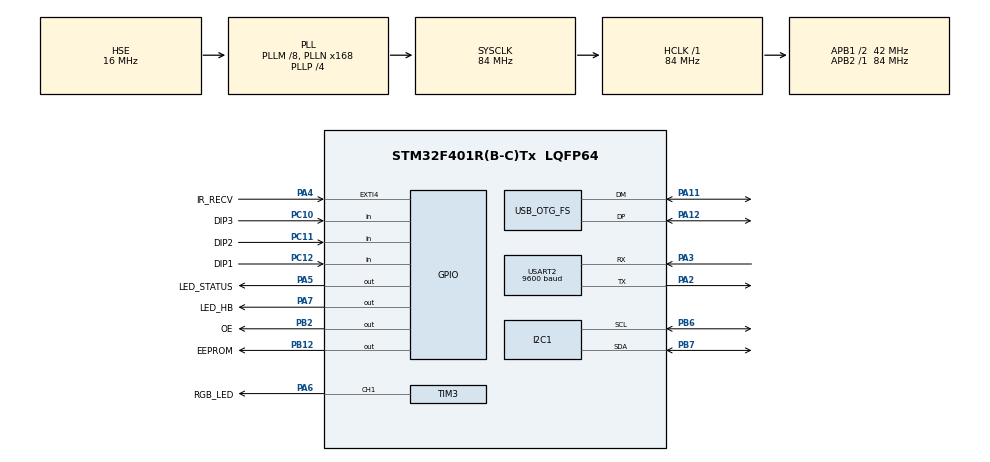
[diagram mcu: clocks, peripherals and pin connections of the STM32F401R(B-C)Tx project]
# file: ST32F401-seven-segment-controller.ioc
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Dma.Request0=TIM3_CH1/TRIG
Dma.TIM3_CH1/TRIG.0.Direction=DMA_MEMORY_TO_PERIPH
Dma.TIM3_CH1/TRIG.0.FIFOMode=DMA_FIFOMODE_DISABLE
Dma.TIM3_CH1/TRIG.0.Instance=DMA1_Stream4
Dma.TIM3_CH1/TRIG.0.MemDataAlignment=DMA_MDATAALIGN_HALFWORD
Dma.TIM3_CH1/TRIG.0.MemInc=DMA_MINC_ENABLE
Dma.TIM3_CH1/TRIG.0.Mode=DMA_NORMAL
Dma.TIM3_CH1/TRIG.0.PeriphDataAlignment=DMA_PDATAALIGN_HALFWORD
Dma.TIM3_CH1/TRIG.0.PeriphInc=DMA_PINC_DISABLE
Dma.TIM3_CH1/TRIG.0.Priority=DMA_PRIORITY_HIGH
FREERTOS.Tasks01=defaultTask,24,384,StartDefaultTask,Default,NULL,Dynamic,NULL,NULL;heartbeatTask,8,128,StartHeartbeatTask,Default,NULL,Dynamic,NULL,NULL
FREERTOS.configUSE_NEWLIB_REENTRANT=1
Mcu.Family=STM32F4
Mcu.Name=STM32F401R(B-C)Tx
Mcu.Package=LQFP64
NVIC.DMA1_Stream4_IRQn=true\:5\:0\:false\:false\:true\:true\:false\:true\:true
NVIC.EXTI4_IRQn=true\:5\:0\:false\:false\:true\:true\:true\:true\:true
NVIC.OTG_FS_IRQn=true\:5\:0\:false\:false\:true\:true\:false\:true\:true
NVIC.PriorityGroup=NVIC_PRIORITYGROUP_4
NVIC.TIM4_IRQn=true\:15\:0\:false\:false\:true\:false\:false\:true\:true
NVIC.TimeBase=TIM4_IRQn
NVIC.TimeBaseIP=TIM4
NVIC.USART2_IRQn=true\:5\:0\:false\:false\:true\:true\:true\:true\:true
PA11.Mode=Device_Only
PA11.Signal=USB_OTG_FS_DM
PA12.Mode=Device_Only
PA12.Signal=USB_OTG_FS_DP
PA13.Mode=Trace_Asynchronous_SW
PA13.Signal=SYS_JTMS-SWDIO
PA14.Mode=Trace_Asynchronous_SW
PA14.Signal=SYS_JTCK-SWCLK
PA2.Mode=Asynchronous
PA2.Signal=USART2_TX
PA3.Mode=Asynchronous
PA3.Signal=USART2_RX
PA4.GPIO_Label=IR_RECV
PA4.GPIO_ModeDefaultEXTI=GPIO_MODE_IT_FALLING
PA4.Signal=GPXTI4
PA5.GPIO_Label=LED_STATUS
PA5.Signal=GPIO_Output
PA6.GPIO_Label=RGB_LED
PA6.Signal=S_TIM3_CH1
PA7.GPIO_Label=LED_HB
PA7.Signal=GPIO_Output
PB12.GPIO_Label=EEPROM
PB12.Signal=GPIO_Output
PB2.GPIO_Label=OE
PB2.Signal=GPIO_Output
PB3.Mode=Trace_Asynchronous_SW
PB3.Signal=SYS_JTDO-SWO
PB6.Mode=I2C
PB6.Signal=I2C1_SCL
PB7.Mode=I2C
PB7.Signal=I2C1_SDA
PC10.GPIO_Label=DIP3
PC10.Signal=GPIO_Input
PC11.GPIO_Label=DIP2
PC11.Signal=GPIO_Input
PC12.GPIO_Label=DIP1
PC12.Signal=GPIO_Input
PC14-OSC32_IN.Mode=LSE-External-Oscillator
PC14-OSC32_IN.Signal=RCC_OSC32_IN
PC15-OSC32_OUT.Mode=LSE-External-Oscillator
PC15-OSC32_OUT.Signal=RCC_OSC32_OUT
PH0\ -\ OSC_IN.Mode=HSE-External-Oscillator
PH0\ -\ OSC_IN.Signal=RCC_OSC_IN
PH1\ -\ OSC_OUT.Mode=HSE-External-Oscillator
PH1\ -\ OSC_OUT.Signal=RCC_OSC_OUT
ProjectManager.HeapSize=0x200
ProjectManager.StackSize=0x400
ProjectManager.TargetToolchain=STM32CubeIDE
RCC.48MHZClocksFreq_Value=48000000
RCC.AHBFreq_Value=84000000
RCC.APB1CLKDivider=RCC_HCLK_DIV2
RCC.APB1Freq_Value=42000000
RCC.APB1TimFreq_Value=84000000
RCC.APB2Freq_Value=84000000
RCC.APB2TimFreq_Value=84000000
RCC.CortexFreq_Value=84000000
RCC.HCLKFreq_Value=84000000
RCC.HSE_VALUE=16000000
RCC.HSI_VALUE=16000000
RCC.PLLM=8
RCC.PLLN=168
RCC.PLLP=RCC_PLLP_DIV4
RCC.PLLQ=7
RCC.RCC_RTC_Clock_SourceVirtual=RCC_RTCCLKSOURCE_LSE
RCC.SYSCLKFreq_VALUE=84000000
RCC.SYSCLKSource=RCC_SYSCLKSOURCE_PLLCLK
RCC.VCOOutputFreq_Value=336000000
SH.S_TIM3_CH1.0=TIM3_CH1,PWM Generation1 CH1
TIM1.Prescaler=84-1
TIM2.Prescaler=84-1
TIM3.Channel-PWM\ Generation1\ CH1=TIM_CHANNEL_1
TIM3.Period=105-1
TIM5.Prescaler=8400-1
USART2.BaudRate=9600
USART2.Mode=MODE_RX
USART2.VirtualMode=VM_ASYNC
USB_DEVICE.CLASS_NAME_FS=CDC
USB_DEVICE.VirtualMode=Cdc
USB_DEVICE.VirtualModeFS=Cdc_FS
USB_OTG_FS.VirtualMode=Device_Only
VP_FREERTOS_VS_CMSIS_V2.Mode=CMSIS_V2
VP_RTC_VS_RTC_Activate.Mode=RTC_Enabled
VP_SYS_VS_tim4.Mode=TIM4
VP_TIM1_VS_ClockSourceINT.Mode=Internal
VP_TIM2_VS_ClockSourceINT.Mode=Internal
VP_TIM3_VS_ClockSourceINT.Mode=Internal
VP_TIM5_VS_ClockSourceINT.Mode=Internal
VP_USB_DEVICE_VS_USB_DEVICE_CDC_FS.Mode=CDC_FS
board=custom

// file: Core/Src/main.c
/* USER CODE BEGIN Header */
/**
 ******************************************************************************
 * @file           : main.c
 * @brief          : Main program body
 ******************************************************************************
 * @attention
 *
 * Copyright (c) 2023 STMicroelectronics.
 * All rights reserved.
 *
 * This software is licensed under terms that can be found in the LICENSE file
 * in the root directory of this software component.
 * If no LICENSE file comes with this software, it is provided AS-IS.
 *
 ******************************************************************************
 */
/* USER CODE END Header */
#include "main.h"
#include "cmsis_os.h"
#include "usb_device.h"

/* USER CODE BEGIN Includes */
#include <math.h>
#include <stdio.h>
#include <string.h>
#include <time.h>
#include "ssd1306.h"
#include "rtc_sync.h"
#include "ring_buffer.h"
#include "i2c_wrapper.h"
#include "pcf8563.h"
#include "seven_segment.h"
#include "eeprom.h"
#include "bcd_util.h"
#include "nmea.h"
#include "sync_gps_rtc.h"
#include "adj_date.h"
#include "splash.h"
/* USER CODE END Includes */

/* USER CODE BEGIN PD */
/* USER CODE BEGIN PD */
#define NUM_DIGITS 3
#define NUM_LED_DIGIT 29
#define USE_BRIGHTNESS 1
#define NUM_SACRIFICIAL_LED 1
#define PI 3.14159265358979323846
#define CODE_BUFFER_SIZE 8
#define UART_RX_BUFFER_SIZE 512
#define IR_REMOTE_BUFFER_SIZE 16

// Date Format
#define DATE_FORMAT "%04d-%02d-%02d"
#define TIME_FORMAT "%02d:%02d:%02d"

// EEPROM Defines
#define EEPROM_DATE_PAGE 0
#define EEPROM_DATE_OFFSET 0

/* USER CODE END PD */

I2C_HandleTypeDef hi2c1;

RTC_HandleTypeDef hrtc;

TIM_HandleTypeDef htim1;
TIM_HandleTypeDef htim2;
TIM_HandleTypeDef htim3;
TIM_HandleTypeDef htim5;
DMA_HandleTypeDef hdma_tim3_ch1_trig;

UART_HandleTypeDef huart2;

/* Definitions for defaultTask */
osThreadId_t defaultTaskHandle;
const osThreadAttr_t defaultTask_attributes = {
        .name = "defaultTask",
        .stack_size = 384 * 4,
        .priority = (osPriority_t) osPriorityNormal,
};
/* Definitions for heartbeatTask */
osThreadId_t heartbeatTaskHandle;
const osThreadAttr_t heartbeatTask_attributes = {
        .name = "heartbeatTask",
        .stack_size = 128 * 4,
        .priority = (osPriority_t) osPriorityLow,
};
/* USER CODE BEGIN PV */

// Data Buffer Variables
char lcd_buffer[64];

// LED Strip Variables
seven_segment_t led;
// uint8_t LED_Data[(NUM_LED_DIGIT + NUM_SACRIFICIAL_LED) * NUM_DIGITS][4];
// uint8_t LED_Mod[(NUM_LED_DIGIT + NUM_SACRIFICIAL_LED) * NUM_DIGITS][4];
// uint16_t pwmData[(24 * (NUM_LED_DIGIT + NUM_SACRIFICIAL_LED) * NUM_DIGITS)+50];

// IR Remote Variables

uint32_t tempCode;
uint8_t bitIndex;
uint8_t cmd;
uint8_t cmdli;
uint32_t code;
uint32_t prevCode;
uint8_t codeReady;
uint32_t codeCmd;
uint8_t startIR;
uint8_t repeatCode;
uint8_t potentialRepeatCode;
uint8_t repeatCodeCount;
RingBuffer codeBuffer;

// UART Variables
RingBuffer uartRxBuffer;
uint8_t uartRxData[2] = {0};

// Misc Variables
uint8_t use_external_rtc = 0;
uint8_t has_external_rtc = 0;
uint8_t mute_status_led = 0;

/* USER CODE END PV */

void SystemClock_Config(void);
static void MX_GPIO_Init(void);
static void MX_DMA_Init(void);
static void MX_RTC_Init(void);
static void MX_TIM2_Init(void);
static void MX_TIM3_Init(void);
static void MX_USART2_UART_Init(void);
static void MX_I2C1_Init(void);
static void MX_TIM1_Init(void);
static void MX_TIM5_Init(void);
void StartDefaultTask(void *argument);
void StartHeartbeatTask(void *argument);

/* USER CODE BEGIN 0 */

uint16_t pwmData[29];

void send(int green, int red, int blue)
{
    uint32_t data = (green << 16) | (red << 8) | blue;
    for (int i = 29; i >=0; i--) {
        if (data & (1 << i)) {
            pwmData[i] = 60;
        } else {
            pwmData[i] = 30;
        }
    }
    HAL_TIM_PWM_Start_DMA(&htim3, TIM_CHANNEL_1, (uint32_t *)pwmData, 29);
}

int Get_Digit(int num, int digit)
{
    int the_digit = (num / (int)pow(10, digit - 1)) % 10;
    return the_digit;
}

/* USER CODE END 0 */

int main(void)
{

    /* MCU Configuration--------------------------------------------------------*/

    /* Reset of all peripherals, Initializes the Flash interface and the Systick. */
    HAL_Init();

    /* Configure the system clock */
    SystemClock_Config();

    /* Initialize all configured peripherals */
    MX_GPIO_Init();
    MX_DMA_Init();
    MX_RTC_Init();
    MX_TIM2_Init();
    MX_TIM3_Init();
    MX_USART2_UART_Init();
    MX_I2C1_Init();
    MX_TIM1_Init();
    MX_TIM5_Init();
    /* USER CODE BEGIN 2 */

    HAL_RTC_Init(&hrtc);
    __HAL_RTC_WRITEPROTECTION_DISABLE(&hrtc);
    HAL_RTC_WaitForSynchro(&hrtc);
    __HAL_RTC_WRITEPROTECTION_ENABLE(&hrtc);

    if (ring_buffer_init(&uartRxBuffer, UART_RX_BUFFER_SIZE, sizeof(uint8_t)) == RING_BUFFER_MALLOC_FAILED) {
        Error_Handler();
    }
    if (sync_gps_rtc_init(&hrtc, &huart2, &htim5, &uartRxBuffer) != SYNC_GPS_RTC_STATE_OK) {
        Error_Handler();
    }

    RTC_sync_init(&hrtc, &huart2, &htim1, &uartRxBuffer);

    if (ring_buffer_init(&codeBuffer, IR_REMOTE_BUFFER_SIZE, sizeof(uint32_t)) == RING_BUFFER_MALLOC_FAILED) {
        Error_Handler();
    }

    HAL_TIM_Base_Start(&htim1);
    HAL_TIM_Base_Start(&htim2);
    HAL_TIM_Base_Start(&htim5);

    __HAL_TIM_SET_COUNTER(&htim2, 0);

    HAL_GPIO_WritePin(OE_GPIO_Port, OE_Pin, GPIO_PIN_RESET);

    /* USER CODE END 2 */

    /* Init scheduler */
    osKernelInitialize();

    /* Create the thread(s) */
    /* creation of defaultTask */
    defaultTaskHandle = osThreadNew(StartDefaultTask, NULL, &defaultTask_attributes);

    /* creation of heartbeatTask */
    heartbeatTaskHandle = osThreadNew(StartHeartbeatTask, NULL, &heartbeatTask_attributes);

    /* Start scheduler */
    osKernelStart();
    /* We should never get here as control is now taken by the scheduler */
    /* Infinite loop */
    while (1)
    {

    }
}

void SystemClock_Config(void)
{
    RCC_OscInitTypeDef RCC_OscInitStruct = {0};
    RCC_ClkInitTypeDef RCC_ClkInitStruct = {0};

    /** Configure the main internal regulator output voltage
     */
    __HAL_RCC_PWR_CLK_ENABLE();
    __HAL_PWR_VOLTAGESCALING_CONFIG(PWR_REGULATOR_VOLTAGE_SCALE2);

    /** Initializes the RCC Oscillators according to the specified parameters
     * in the RCC_OscInitTypeDef structure.
     */
    RCC_OscInitStruct.OscillatorType = RCC_OSCILLATORTYPE_HSE|RCC_OSCILLATORTYPE_LSE;
    RCC_OscInitStruct.HSEState = RCC_HSE_ON;
    RCC_OscInitStruct.LSEState = RCC_LSE_ON;
    RCC_OscInitStruct.PLL.PLLState = RCC_PLL_ON;
    RCC_OscInitStruct.PLL.PLLSource = RCC_PLLSOURCE_HSE;
    RCC_OscInitStruct.PLL.PLLM = 8;
    RCC_OscInitStruct.PLL.PLLN = 168;
    RCC_OscInitStruct.PLL.PLLP = RCC_PLLP_DIV4;
    RCC_OscInitStruct.PLL.PLLQ = 7;
    if (HAL_RCC_OscConfig(&RCC_OscInitStruct) != HAL_OK)
    {
        Error_Handler();
    }

    /** Initializes the CPU, AHB and APB buses clocks
     */
    RCC_ClkInitStruct.ClockType = RCC_CLOCKTYPE_HCLK|RCC_CLOCKTYPE_SYSCLK
            |RCC_CLOCKTYPE_PCLK1|RCC_CLOCKTYPE_PCLK2;
    RCC_ClkInitStruct.SYSCLKSource = RCC_SYSCLKSOURCE_PLLCLK;
    RCC_ClkInitStruct.AHBCLKDivider = RCC_SYSCLK_DIV1;
    RCC_ClkInitStruct.APB1CLKDivider = RCC_HCLK_DIV2;
    RCC_ClkInitStruct.APB2CLKDivider = RCC_HCLK_DIV1;

    if (HAL_RCC_ClockConfig(&RCC_ClkInitStruct, FLASH_LATENCY_2) != HAL_OK)
    {
        Error_Handler();
    }
}

static void MX_I2C1_Init(void)
{

    hi2c1.Instance = I2C1;
    hi2c1.Init.ClockSpeed = 100000;
    hi2c1.Init.DutyCycle = I2C_DUTYCYCLE_2;
    hi2c1.Init.OwnAddress1 = 0;
    hi2c1.Init.AddressingMode = I2C_ADDRESSINGMODE_7BIT;
    hi2c1.Init.DualAddressMode = I2C_DUALADDRESS_DISABLE;
    hi2c1.Init.OwnAddress2 = 0;
    hi2c1.Init.GeneralCallMode = I2C_GENERALCALL_DISABLE;
    hi2c1.Init.NoStretchMode = I2C_NOSTRETCH_DISABLE;
    if (HAL_I2C_Init(&hi2c1) != HAL_OK)
    {
        Error_Handler();
    }

}

static void MX_RTC_Init(void)
{

    /** Initialize RTC Only
     */
    hrtc.Instance = RTC;
    hrtc.Init.HourFormat = RTC_HOURFORMAT_24;
    hrtc.Init.AsynchPrediv = 127;
    hrtc.Init.SynchPrediv = 255;
    hrtc.Init.OutPut = RTC_OUTPUT_DISABLE;
    hrtc.Init.OutPutPolarity = RTC_OUTPUT_POLARITY_HIGH;
    hrtc.Init.OutPutType = RTC_OUTPUT_TYPE_OPENDRAIN;
    if (HAL_RTC_Init(&hrtc) != HAL_OK)
    {
        Error_Handler();
    }

}

static void MX_TIM1_Init(void)
{

    TIM_ClockConfigTypeDef sClockSourceConfig = {0};
    TIM_MasterConfigTypeDef sMasterConfig = {0};

    htim1.Instance = TIM1;
    htim1.Init.Prescaler = 84-1;
    htim1.Init.CounterMode = TIM_COUNTERMODE_UP;
    htim1.Init.Period = 65535;
    htim1.Init.ClockDivision = TIM_CLOCKDIVISION_DIV1;
    htim1.Init.RepetitionCounter = 0;
    htim1.Init.AutoReloadPreload = TIM_AUTORELOAD_PRELOAD_DISABLE;
    if (HAL_TIM_Base_Init(&htim1) != HAL_OK)
    {
        Error_Handler();
    }
    sClockSourceConfig.ClockSource = TIM_CLOCKSOURCE_INTERNAL;
    if (HAL_TIM_ConfigClockSource(&htim1, &sClockSourceConfig) != HAL_OK)
    {
        Error_Handler();
    }
    sMasterConfig.MasterOutputTrigger = TIM_TRGO_RESET;
    sMasterConfig.MasterSlaveMode = TIM_MASTERSLAVEMODE_DISABLE;
    if (HAL_TIMEx_MasterConfigSynchronization(&htim1, &sMasterConfig) != HAL_OK)
    {
        Error_Handler();
    }

}

static void MX_TIM2_Init(void)
{

    TIM_ClockConfigTypeDef sClockSourceConfig = {0};
    TIM_MasterConfigTypeDef sMasterConfig = {0};

    htim2.Instance = TIM2;
    htim2.Init.Prescaler = 84-1;
    htim2.Init.CounterMode = TIM_COUNTERMODE_UP;
    htim2.Init.Period = 4294967295;
    htim2.Init.ClockDivision = TIM_CLOCKDIVISION_DIV1;
    htim2.Init.AutoReloadPreload = TIM_AUTORELOAD_PRELOAD_DISABLE;
    if (HAL_TIM_Base_Init(&htim2) != HAL_OK)
    {
        Error_Handler();
    }
    sClockSourceConfig.ClockSource = TIM_CLOCKSOURCE_INTERNAL;
    if (HAL_TIM_ConfigClockSource(&htim2, &sClockSourceConfig) != HAL_OK)
    {
        Error_Handler();
    }
    sMasterConfig.MasterOutputTrigger = TIM_TRGO_RESET;
    sMasterConfig.MasterSlaveMode = TIM_MASTERSLAVEMODE_DISABLE;
    if (HAL_TIMEx_MasterConfigSynchronization(&htim2, &sMasterConfig) != HAL_OK)
    {
        Error_Handler();
    }

}

static void MX_TIM3_Init(void)
{

    TIM_ClockConfigTypeDef sClockSourceConfig = {0};
    TIM_MasterConfigTypeDef sMasterConfig = {0};
    TIM_OC_InitTypeDef sConfigOC = {0};

    htim3.Instance = TIM3;
    htim3.Init.Prescaler = 0;
    htim3.Init.CounterMode = TIM_COUNTERMODE_UP;
    htim3.Init.Period = 105-1;
    htim3.Init.ClockDivision = TIM_CLOCKDIVISION_DIV1;
    htim3.Init.AutoReloadPreload = TIM_AUTORELOAD_PRELOAD_DISABLE;
    if (HAL_TIM_Base_Init(&htim3) != HAL_OK)
    {
        Error_Handler();
    }
    sClockSourceConfig.ClockSource = TIM_CLOCKSOURCE_INTERNAL;
    if (HAL_TIM_ConfigClockSource(&htim3, &sClockSourceConfig) != HAL_OK)
    {
        Error_Handler();
    }
    if (HAL_TIM_PWM_Init(&htim3) != HAL_OK)
    {
        Error_Handler();
    }
    sMasterConfig.MasterOutputTrigger = TIM_TRGO_RESET;
    sMasterConfig.MasterSlaveMode = TIM_MASTERSLAVEMODE_DISABLE;
    if (HAL_TIMEx_MasterConfigSynchronization(&htim3, &sMasterConfig) != HAL_OK)
    {
        Error_Handler();
    }
    sConfigOC.OCMode = TIM_OCMODE_PWM1;
    sConfigOC.Pulse = 0;
    sConfigOC.OCPolarity = TIM_OCPOLARITY_HIGH;
    sConfigOC.OCFastMode = TIM_OCFAST_DISABLE;
    if (HAL_TIM_PWM_ConfigChannel(&htim3, &sConfigOC, TIM_CHANNEL_1) != HAL_OK)
    {
        Error_Handler();
    }
    HAL_TIM_MspPostInit(&htim3);

}

static void MX_TIM5_Init(void)
{

    TIM_ClockConfigTypeDef sClockSourceConfig = {0};
    TIM_MasterConfigTypeDef sMasterConfig = {0};

    htim5.Instance = TIM5;
    htim5.Init.Prescaler = 8400-1;
    htim5.Init.CounterMode = TIM_COUNTERMODE_UP;
    htim5.Init.Period = 4294967295;
    htim5.Init.ClockDivision = TIM_CLOCKDIVISION_DIV1;
    htim5.Init.AutoReloadPreload = TIM_AUTORELOAD_PRELOAD_DISABLE;
    if (HAL_TIM_Base_Init(&htim5) != HAL_OK)
    {
        Error_Handler();
    }
    sClockSourceConfig.ClockSource = TIM_CLOCKSOURCE_INTERNAL;
    if (HAL_TIM_ConfigClockSource(&htim5, &sClockSourceConfig) != HAL_OK)
    {
        Error_Handler();
    }
    sMasterConfig.MasterOutputTrigger = TIM_TRGO_RESET;
    sMasterConfig.MasterSlaveMode = TIM_MASTERSLAVEMODE_DISABLE;
    if (HAL_TIMEx_MasterConfigSynchronization(&htim5, &sMasterConfig) != HAL_OK)
    {
        Error_Handler();
    }

}

static void MX_USART2_UART_Init(void)
{

    huart2.Instance = USART2;
    huart2.Init.BaudRate = 9600;
    huart2.Init.WordLength = UART_WORDLENGTH_8B;
    huart2.Init.StopBits = UART_STOPBITS_1;
    huart2.Init.Parity = UART_PARITY_NONE;
    huart2.Init.Mode = UART_MODE_RX;
    huart2.Init.HwFlowCtl = UART_HWCONTROL_NONE;
    huart2.Init.OverSampling = UART_OVERSAMPLING_16;
    if (HAL_UART_Init(&huart2) != HAL_OK)
    {
        Error_Handler();
    }

}

static void MX_DMA_Init(void)
{

    /* DMA controller clock enable */
    __HAL_RCC_DMA1_CLK_ENABLE();

    /* DMA interrupt init */
    /* DMA1_Stream4_IRQn interrupt configuration */
    HAL_NVIC_SetPriority(DMA1_Stream4_IRQn, 5, 0);
    HAL_NVIC_EnableIRQ(DMA1_Stream4_IRQn);

}

static void MX_GPIO_Init(void)
{
    GPIO_InitTypeDef GPIO_InitStruct = {0};

    /* GPIO Ports Clock Enable */
    __HAL_RCC_GPIOC_CLK_ENABLE();
    __HAL_RCC_GPIOH_CLK_ENABLE();
    __HAL_RCC_GPIOA_CLK_ENABLE();
    __HAL_RCC_GPIOB_CLK_ENABLE();

    /*Configure GPIO pin Output Level */
    HAL_GPIO_WritePin(GPIOA, LED_STATUS_Pin|LED_HB_Pin, GPIO_PIN_RESET);

    /*Configure GPIO pin Output Level */
    HAL_GPIO_WritePin(GPIOB, OE_Pin|EEPROM_Pin, GPIO_PIN_RESET);

    /*Configure GPIO pin : IR_RECV_Pin */
    GPIO_InitStruct.Pin = IR_RECV_Pin;
    GPIO_InitStruct.Mode = GPIO_MODE_IT_FALLING;
    GPIO_InitStruct.Pull = GPIO_NOPULL;
    HAL_GPIO_Init(IR_RECV_GPIO_Port, &GPIO_InitStruct);

    /*Configure GPIO pins : LED_STATUS_Pin LED_HB_Pin */
    GPIO_InitStruct.Pin = LED_STATUS_Pin|LED_HB_Pin;
    GPIO_InitStruct.Mode = GPIO_MODE_OUTPUT_PP;
    GPIO_InitStruct.Pull = GPIO_NOPULL;
    GPIO_InitStruct.Speed = GPIO_SPEED_FREQ_LOW;
    HAL_GPIO_Init(GPIOA, &GPIO_InitStruct);

    /*Configure GPIO pins : OE_Pin EEPROM_Pin */
    GPIO_InitStruct.Pin = OE_Pin|EEPROM_Pin;
    GPIO_InitStruct.Mode = GPIO_MODE_OUTPUT_PP;
    GPIO_InitStruct.Pull = GPIO_NOPULL;
    GPIO_InitStruct.Speed = GPIO_SPEED_FREQ_LOW;
    HAL_GPIO_Init(GPIOB, &GPIO_InitStruct);

    /*Configure GPIO pins : DIP3_Pin DIP2_Pin DIP1_Pin */
    GPIO_InitStruct.Pin = DIP3_Pin|DIP2_Pin|DIP1_Pin;
    GPIO_InitStruct.Mode = GPIO_MODE_INPUT;
    GPIO_InitStruct.Pull = GPIO_NOPULL;
    HAL_GPIO_Init(GPIOC, &GPIO_InitStruct);

    /* EXTI interrupt init*/
    HAL_NVIC_SetPriority(EXTI4_IRQn, 5, 0);
    HAL_NVIC_EnableIRQ(EXTI4_IRQn);

}

/* USER CODE BEGIN 4 */
void HAL_GPIO_EXTI_Callback(uint16_t GPIO_Pin)
{
    static int counter;
    if (GPIO_Pin == IR_RECV_Pin) {

        counter = (int)__HAL_TIM_GET_COUNTER(&htim2);
        __HAL_TIM_SET_COUNTER(&htim2, 0);
        // HAL_GPIO_TogglePin(LED_STATUS_GPIO_Port, LED_STATUS_Pin);

        if (counter > 11000 && counter < 100000 && potentialRepeatCode && startIR && prevCode) {
            repeatCodeCount++;

            codeCmd = prevCode;
            // ignore first two repeat codes and send every other repeat code
            if (repeatCodeCount > 2 && repeatCodeCount % 2 == 0) {
                repeatCode = 1;
                ring_buffer_enqueue(&codeBuffer, (void *)&codeCmd);
            }
        }
        else if (counter > 13000) {
            tempCode = 0;
            bitIndex = 0;
            startIR = 1;
            repeatCode = 0;
            potentialRepeatCode = 1;
            repeatCodeCount = 0;
            prevCode = codeCmd;
        }
        else if (counter > 1700) {
            tempCode |= (1UL << (31-bitIndex));  // write 1
            bitIndex++;
            potentialRepeatCode = 0;
        }
        else if (counter > 1000) {
            tempCode &= ~(1UL << (31-bitIndex));  // write 0
            bitIndex++;
            potentialRepeatCode = 0;
        }
        if (bitIndex == 32) {
            cmdli = ~tempCode; // Logical inversion last 8 bits
            cmd = tempCode >> 8; // Second last 8 bits
            if (cmdli == cmd) {
                code = tempCode;
                codeCmd = code;
                ring_buffer_enqueue(&codeBuffer, (void *)&codeCmd);
                // HAL_GPIO_WritePin(LED_UI_GPIO_Port, LED_UI_Pin, GPIO_PIN_RESET);
            } else {
                codeCmd = 0xFFFFFFFF;
            }
            bitIndex = 0;
            startIR = 0;
        }

        // HAL_GPIO_TogglePin(LED_STATUS_GPIO_Port, LED_STATUS_Pin);
    }
}

void HAL_UART_RxCpltCallback(UART_HandleTypeDef *huart)
{
    ring_buffer_enqueue(&uartRxBuffer, (void *)uartRxData);
    HAL_UART_Receive_IT(&huart2, uartRxData, 1);
}

void HAL_TIM_PWM_PulseFinishedCallback(TIM_HandleTypeDef *htim)
{
    HAL_TIM_PWM_Stop_DMA(&htim3, TIM_CHANNEL_1);
    // HAL_GPIO_WritePin(LED_STATUS_GPIO_Port, LED_STATUS_Pin, GPIO_PIN_SET);
    led.data_sent_flag = 1;
}

/* USER CODE END 4 */

void StartDefaultTask(void *argument)
{
    /* init code for USB_DEVICE */
    MX_USB_DEVICE_Init();
    /* USER CODE BEGIN 5 */

    RTC_TimeTypeDef sTime;
    RTC_DateTypeDef sDate;

    uint32_t inf_loop = 0;
    uint32_t remote_cmd = 0;
    struct tm remote_time;
    // char remote_time_str[24];
    pcf8563_t pcf;
    pcf8563_err_t pcf_err;
    int prev_second = 0;
    uint8_t brightness = 20;
    uint8_t color_index = 0;
    bcd_time_t start_datetime;
    bcd_time_t current_datetime;
    bcd_time_t sync_gps_datetime;
    bcd_time_t adj_datetime;
    eeprom_t eeprom;
    uint8_t display_state = 0;
    uint32_t days_since_start = 0;
    uint32_t days_since_start_prev = 0;
    uint8_t hours_since_start = 0;
    uint8_t hours_since_start_prev = 0;
    uint8_t update_display = 1;
    uint8_t sacrifical_led_prev = 0;
    uint8_t reset_delay = 20;
    sync_gps_rtc_state_t sync_gps_rtc_state = 0;

    seven_segment_error_t led_error;

    led_error = seven_segment_init(&led, &htim3, TIM_CHANNEL_1, htim3.Init.Period, 1);
    if (led_error != SEVEN_SEGMENT_OK) {
        Error_Handler();
    }
    led.data_sent_flag = 1;
    led.sacrificial_led_flag = HAL_GPIO_ReadPin(DIP2_GPIO_Port, DIP2_Pin) == GPIO_PIN_SET ? 1 : 0;

    // Splash screen
    splash(&led);

    // Initialize External RTC
    pcf.read = &i2c_read;
    pcf.write = &i2c_write;
    pcf.handle = &hi2c1;
    pcf_err = pcf8563_init(&pcf);
    if (pcf_err != PCF8563_OK) {
        has_external_rtc = 0;
        sprintf(lcd_buffer, "RTC init failed");
        ssd1306_Fill(Black);
        ssd1306_SetCursor(5, 7);
        ssd1306_WriteString(lcd_buffer, Font_7x10, White);
        ssd1306_UpdateScreen();
        osDelay(2000);
    } else {
        has_external_rtc = 1;
    }

    use_external_rtc = HAL_GPIO_ReadPin(DIP3_GPIO_Port, DIP3_Pin) == GPIO_PIN_SET ? 1 : 0;

    if (use_external_rtc == 1 && has_external_rtc == 1) {
        pcf8563_read(&pcf, &remote_time);
        if (remote_time.tm_year < 0) {
            sprintf(lcd_buffer, "Clock not set");
            ssd1306_Fill(Black);
            ssd1306_SetCursor(5, 7);
            ssd1306_WriteString(lcd_buffer, Font_7x10, White);
            ssd1306_UpdateScreen();
            osDelay(2000);
        }
        else {
            RTC_TimeTypeDef sTime;
            RTC_DateTypeDef sDate;

            HAL_RTC_GetTime(&hrtc, &sTime, RTC_FORMAT_BIN);
            HAL_RTC_GetDate(&hrtc, &sDate, RTC_FORMAT_BIN);

            sTime.Seconds = remote_time.tm_sec;
            sTime.Minutes = remote_time.tm_min;
            sTime.Hours = remote_time.tm_hour;
            sDate.Date = remote_time.tm_mday;
            sDate.Month = remote_time.tm_mon + 1;
            sDate.Year = remote_time.tm_year - 100;

            HAL_RTC_SetTime(&hrtc, &sTime, RTC_FORMAT_BIN);
            HAL_RTC_SetDate(&hrtc, &sDate, RTC_FORMAT_BIN);
        }
    }
    ssd1306_Fill(Black);

    // Initialize EEPROM if not initialized
    eeprom_status_t eeprom_status = eeprom_init(&eeprom, &hi2c1, EEPROM_GPIO_Port, EEPROM_Pin);
    if (eeprom_status == EEPROM_OK) {
        eeprom_status =	eeprom_read(&eeprom, EEPROM_DATE_PAGE, EEPROM_DATE_OFFSET, (uint8_t *)&start_datetime, sizeof(bcd_time_t));
        if (eeprom_status != EEPROM_OK) {
            Error_Handler();
        }
        if (start_datetime.year < 2023 || start_datetime.year > 2050) {
            HAL_RTC_GetTime(&hrtc, &sTime, RTC_FORMAT_BIN);
            HAL_RTC_GetDate(&hrtc, &sDate, RTC_FORMAT_BIN);
            bcd_rtc_to_bcd_time(&sTime, &sDate, &start_datetime);
            if(eeprom.write_protected == 1) {
                eeprom_write_protect(&eeprom, 0);
            }
            eeprom_status = eeprom_write(&eeprom, EEPROM_DATE_PAGE, EEPROM_DATE_OFFSET, (uint8_t *)&start_datetime, sizeof(bcd_time_t));
            if (eeprom_status != EEPROM_OK) {
                Error_Handler();
            }
            eeprom_write_protect(&eeprom, 1);
        }
    } else {
        Error_Handler();
    }

    // start_datetime.hours = 23;
    // start_datetime.minutes = 19;
    // start_datetime.day = 12;
    hours_since_start = 0;

    /* Infinite loop */
    for(;;)
    {
        use_external_rtc = HAL_GPIO_ReadPin(DIP3_GPIO_Port, DIP3_Pin) == GPIO_PIN_SET ? 1 : 0;
        led.sacrificial_led_flag = HAL_GPIO_ReadPin(DIP2_GPIO_Port, DIP2_Pin) == GPIO_PIN_SET ? 1 : 0;
        mute_status_led = HAL_GPIO_ReadPin(DIP1_GPIO_Port, DIP1_Pin) == GPIO_PIN_SET ? 1 : 0;

        if (sacrifical_led_prev != led.sacrificial_led_flag) {
            update_display = 1;
            sacrifical_led_prev = led.sacrificial_led_flag;
        }

        if (has_external_rtc && use_external_rtc) {
            pcf8563_read(&pcf, &remote_time);
            current_datetime.year = remote_time.tm_year + 1900;
            current_datetime.month = remote_time.tm_mon + 1;
            current_datetime.day = remote_time.tm_mday;
            current_datetime.hours = remote_time.tm_hour;
            current_datetime.minutes = remote_time.tm_min;
            current_datetime.seconds = remote_time.tm_sec;
            current_datetime.day_of_week = remote_time.tm_wday;
        }
        else {
            HAL_RTC_GetTime(&hrtc, &sTime, RTC_FORMAT_BIN);
            HAL_RTC_GetDate(&hrtc, &sDate, RTC_FORMAT_BIN);
            bcd_rtc_to_bcd_time(&sTime, &sDate, &current_datetime);
        }

        if (current_datetime.year > start_datetime.year+5 || current_datetime.year < start_datetime.year) {
            sync_gps_rtc_set(&start_datetime);
            HAL_RTC_GetTime(&hrtc, &sTime, RTC_FORMAT_BIN);
            HAL_RTC_GetDate(&hrtc, &sDate, RTC_FORMAT_BIN);
            bcd_rtc_to_bcd_time(&sTime, &sDate, &current_datetime);
        }

        days_since_start = bcd_days_between_dates(&start_datetime, &current_datetime);

        // Rotating Messages
        if (!(inf_loop & 0b11111)) {
            if (display_state == 0) {
                sprintf(lcd_buffer, " Start Date ");
                ssd1306_SetCursor(22, 20);
            }
            else if (display_state == 1) {
                sprintf(lcd_buffer, DATE_FORMAT, start_datetime.year, start_datetime.month, start_datetime.day);
                ssd1306_SetCursor(28, 20);
            }
            else if (display_state == 3) {
                sprintf(lcd_buffer, " Current Date ");
                ssd1306_SetCursor(15, 20);
            }
            else if (display_state == 4) {
                HAL_RTC_GetTime(&hrtc, &sTime, RTC_FORMAT_BIN);
                HAL_RTC_GetDate(&hrtc, &sDate, RTC_FORMAT_BIN);
                sprintf(lcd_buffer, "  " DATE_FORMAT "  ", sDate.Year + 2000, sDate.Month, sDate.Date);
                ssd1306_SetCursor(15, 20);
            }
            else if (display_state == 6) {
                sprintf(lcd_buffer, "Nbr Days");
                ssd1306_SetCursor(36, 20);
            }
            else if (display_state == 7) {
                if (days_since_start == 1) {
                    sprintf(lcd_buffer, "  1 day   ");
                }
                else {
                    sprintf(lcd_buffer, "  %d days  ", (int)days_since_start);

                }
                int center = (128 - (strlen(lcd_buffer) * 7)) / 2;
                ssd1306_SetCursor(center, 20);
            }
            else {
                sprintf(lcd_buffer, "                  ");
                ssd1306_SetCursor(0, 20);
            }

            ssd1306_WriteString(lcd_buffer, Font_7x10, White);
            ssd1306_UpdateScreen();
            display_state++;
            if (display_state > 8) display_state = 0;
        }

        if (days_since_start < 1) {
            hours_since_start = bcd_hours_between_times(&start_datetime, &current_datetime);
            if (hours_since_start < 24) {
                if (hours_since_start != hours_since_start_prev || update_display) {
                    uint8_t hour_color_index = color_index + 1;
                    if (hour_color_index > 6) hour_color_index = 0;

                    if (hours_since_start < 10) {
                        seven_segment_set_digit(&led, 0, hours_since_start, color_index);
                        seven_segment_set_digit(&led, 1, 16, hour_color_index);
                        seven_segment_set_blank(&led, 2);
                    }
                    else if (hours_since_start >= 10 && hours_since_start < 100) {
                        seven_segment_set_digit(&led, 0, hours_since_start / 10, color_index);
                        seven_segment_set_digit(&led, 1, hours_since_start % 10, color_index);
                        seven_segment_set_digit(&led, 2, 16, hour_color_index);
                    }
                    seven_segment_set_brightness(&led, brightness);
                    seven_segment_WS2812_send(&led);
                    hours_since_start_prev = hours_since_start;
                    update_display = 0;
                }
            }
        }

        if (days_since_start >= 1) {
            if (days_since_start != days_since_start_prev || update_display) {
                if (days_since_start < 10) {
                    seven_segment_set_blank(&led, 0);
                    seven_segment_set_digit(&led, 1, days_since_start, color_index);
                    seven_segment_set_blank(&led, 2);
                }
                else if (days_since_start >= 10 && days_since_start < 100) {
                    seven_segment_set_blank(&led, 0);
                    seven_segment_set_digit(&led, 1, days_since_start / 10, color_index);
                    seven_segment_set_digit(&led, 2, days_since_start % 10, color_index);
                }
                else if (days_since_start >= 100) {
                    seven_segment_set_digit(&led, 0, days_since_start / 100, color_index);
                    seven_segment_set_digit(&led, 1, (days_since_start / 10) % 10, color_index);
                    seven_segment_set_digit(&led, 2, days_since_start % 10, color_index);
                }
                seven_segment_set_brightness(&led, brightness);
                seven_segment_WS2812_send(&led);
                days_since_start_prev = days_since_start;
                update_display = 0;
            }
        }

        if (!is_ring_buffer_empty(&codeBuffer)) {
            ring_buffer_dequeue(&codeBuffer, &remote_cmd);
            // sprintf(lcd_buffer, "Code: %0X     ", (unsigned int)remote_cmd);
            // ssd1306_SetCursor(5, 20);
            // ssd1306_WriteString(lcd_buffer, Font_7x10, White);
            // ssd1306_UpdateScreen();
            // osDelay(3000);

            switch (remote_cmd)
            {
            case REMOTE_UP:
                brightness += 5;
                if (brightness > 45) brightness = 45;
                update_display = 1;
                break;
            case REMOTE_DOWN:
                brightness -= 5;
                if (brightness > 45) brightness = 0;
                update_display = 1;
                break;
            case REMOTE_LEFT:
                color_index--;
                if (color_index > 6) color_index = 6;
                update_display = 1;
                break;
            case REMOTE_RIGHT:
                color_index++;
                if (color_index > 6) color_index = 0;
                update_display = 1;
                break;
            case REMOTE_OK:
                memcpy(&adj_datetime, &start_datetime, sizeof(bcd_time_t));
                if(adj_date_task(&adj_datetime, &current_datetime, &codeBuffer) == ADJ_DATE_SAVE) {
                    memcpy(&start_datetime, &adj_datetime, sizeof(bcd_time_t));
                    if(eeprom.write_protected == 1) {
                        eeprom_write_protect(&eeprom, 0);
                    }
                    eeprom_status = eeprom_write(&eeprom, EEPROM_DATE_PAGE, EEPROM_DATE_OFFSET, (uint8_t *)&start_datetime, sizeof(bcd_time_t));
                    if (eeprom_status != EEPROM_OK) {
                        Error_Handler();
                    }
                    eeprom_write_protect(&eeprom, 1);
                }
                osDelay(1000);
                ssd1306_Fill(Black);
                update_display = 1;
                break;
            case REMOTE_STAR:
                // Long press to reset start date
                if (reset_delay == 0)  {
                    ssd1306_Fill(Black);
                    sprintf(lcd_buffer, "Resetting");
                    ssd1306_SetCursor(14, 0);
                    ssd1306_WriteString(lcd_buffer, Font_11x18, White);
                    ssd1306_UpdateScreen();
                    sprintf(lcd_buffer, "Start Date");
                    ssd1306_SetCursor(29, 20);
                    ssd1306_WriteString(lcd_buffer, Font_7x10, White);
                    ssd1306_UpdateScreen();
                    osDelay(1000);
                    // Reset start date to current date
                    HAL_RTC_GetTime(&hrtc, &sTime, RTC_FORMAT_BIN);
                    HAL_RTC_GetDate(&hrtc, &sDate, RTC_FORMAT_BIN);
                    bcd_rtc_to_bcd_time(&sTime, &sDate, &start_datetime);
                    if(eeprom.write_protected == 1) {
                        eeprom_write_protect(&eeprom, 0);
                    }
                    eeprom_status = eeprom_write(&eeprom, EEPROM_DATE_PAGE, EEPROM_DATE_OFFSET, (uint8_t *)&start_datetime, sizeof(bcd_time_t));
                    if (eeprom_status != EEPROM_OK) {
                        Error_Handler();
                    }
                    eeprom_write_protect(&eeprom, 1);
                    update_display = 1;
                    ssd1306_Fill(Black);
                    reset_delay = 20;
                } else {
                    reset_delay--;
                }
                break;
            case REMOTE_POUND:
                ssd1306_Fill(Black);
                sprintf(lcd_buffer, "Sync Clock");
                ssd1306_SetCursor(9, 0);
                ssd1306_WriteString(lcd_buffer, Font_11x18, White);
                ssd1306_UpdateScreen();
                sprintf(lcd_buffer, "Waiting for GPS");
                ssd1306_SetCursor(8, 20);
                ssd1306_WriteString(lcd_buffer, Font_7x10, White);
                ssd1306_UpdateScreen();

                // Start listening for NMEA data
                ring_buffer_flush(&uartRxBuffer);
                __HAL_TIM_SET_COUNTER(&htim5, 0);
                HAL_UART_Receive_IT(&huart2, uartRxData, 1);
                memset(&sync_gps_datetime, 0, sizeof(bcd_time_t));
                sync_gps_rtc_state = sync_gps_rtc_sync(&sync_gps_datetime);
                HAL_UART_AbortReceive_IT(&huart2);
                if(sync_gps_rtc_state == SYNC_GPS_RTC_STATE_SYNCED) {
                    sync_gps_rtc_set(&sync_gps_datetime);
                    sprintf(lcd_buffer, " Syncing Clock ");
                    ssd1306_SetCursor(8, 20);
                    ssd1306_WriteString(lcd_buffer, Font_7x10, White);
                    ssd1306_UpdateScreen();
                    osDelay(1000);
                    ssd1306_Fill(Black);
                } else if (sync_gps_rtc_state == SYNC_GPS_RTC_STATE_TIMEOUT) {
                    sprintf(lcd_buffer, "   Timed Out   ");
                    ssd1306_SetCursor(8, 20);
                    ssd1306_WriteString(lcd_buffer, Font_7x10, White);
                    ssd1306_UpdateScreen();
                    osDelay(1000);
                    ssd1306_Fill(Black);
                } else if (sync_gps_rtc_state == SYNC_GPS_RTC_STATE_ERROR) {
                    sprintf(lcd_buffer, "   Error   ");
                    ssd1306_SetCursor(8, 20);
                    ssd1306_WriteString(lcd_buffer, Font_7x10, White);
                    ssd1306_UpdateScreen();
                    osDelay(1000);
                    ssd1306_Fill(Black);
                }
                break;
            default:
                break;
            }
            if (remote_cmd != REMOTE_STAR) {
                reset_delay = 20;
            }
        }

        if (!(inf_loop & 0b11)) {
            if (has_external_rtc == 1 && use_external_rtc == 1) {
                pcf8563_read(&pcf, &remote_time);
                if (remote_time.tm_sec != prev_second) {
                    prev_second = remote_time.tm_sec;
                    sprintf(lcd_buffer, "%02d:%02d:%02d", remote_time.tm_hour, remote_time.tm_min, remote_time.tm_sec);
                    ssd1306_SetCursor(20, 0);
                    ssd1306_WriteString(lcd_buffer, Font_11x18, White);
                    ssd1306_UpdateScreen();
                }
            } else {
                HAL_RTC_GetTime(&hrtc, &sTime, RTC_FORMAT_BIN);
                HAL_RTC_GetDate(&hrtc, &sDate, RTC_FORMAT_BIN);
                if (sTime.Seconds != prev_second) {
                    prev_second = sTime.Seconds;
                    sprintf(lcd_buffer, "%02d:%02d:%02d", sTime.Hours, sTime.Minutes, sTime.Seconds);
                    ssd1306_SetCursor(20, 0);
                    ssd1306_WriteString(lcd_buffer, Font_11x18, White);
                    ssd1306_UpdateScreen();
                }
            }
        }

        osDelay(50);
        inf_loop++;
    }
    /* USER CODE END 5 */
}

void StartHeartbeatTask(void *argument)
{
    /* USER CODE BEGIN StartHeartbeatTask */
    /* Infinite loop */
    for(;;)
    {
        HAL_GPIO_TogglePin(LED_HB_GPIO_Port, LED_HB_Pin);
        osDelay(1000);
    }
    /* USER CODE END StartHeartbeatTask */
}

void HAL_TIM_PeriodElapsedCallback(TIM_HandleTypeDef *htim)
{
    if (htim->Instance == TIM4) {
        HAL_IncTick();
    }
}

void Error_Handler(void)
{
    /* USER CODE BEGIN Error_Handler_Debug */
    /* User can add his own implementation to report the HAL error return state */
    __disable_irq();

    ssd1306_Fill(Black);
    ssd1306_SetCursor(3, 7);
    ssd1306_WriteString("FATAL ERROR", Font_11x18, White);
    ssd1306_UpdateScreen();

    while (1)
    {
        int i;
        HAL_GPIO_TogglePin(LED_STATUS_GPIO_Port, LED_STATUS_Pin);
        for(i=0;i<2000000;i++) { __NOP(); }
        HAL_GPIO_TogglePin(LED_STATUS_GPIO_Port, LED_STATUS_Pin);
        for(i=0;i<2000000;i++) { __NOP(); }
        HAL_GPIO_TogglePin(LED_STATUS_GPIO_Port, LED_STATUS_Pin);
        for(i=0;i<2000000;i++) { __NOP(); }
        HAL_GPIO_TogglePin(LED_STATUS_GPIO_Port, LED_STATUS_Pin);
        for(i=0;i<8000000;i++) { __NOP(); }
    }
    /* USER CODE END Error_Handler_Debug */
}
